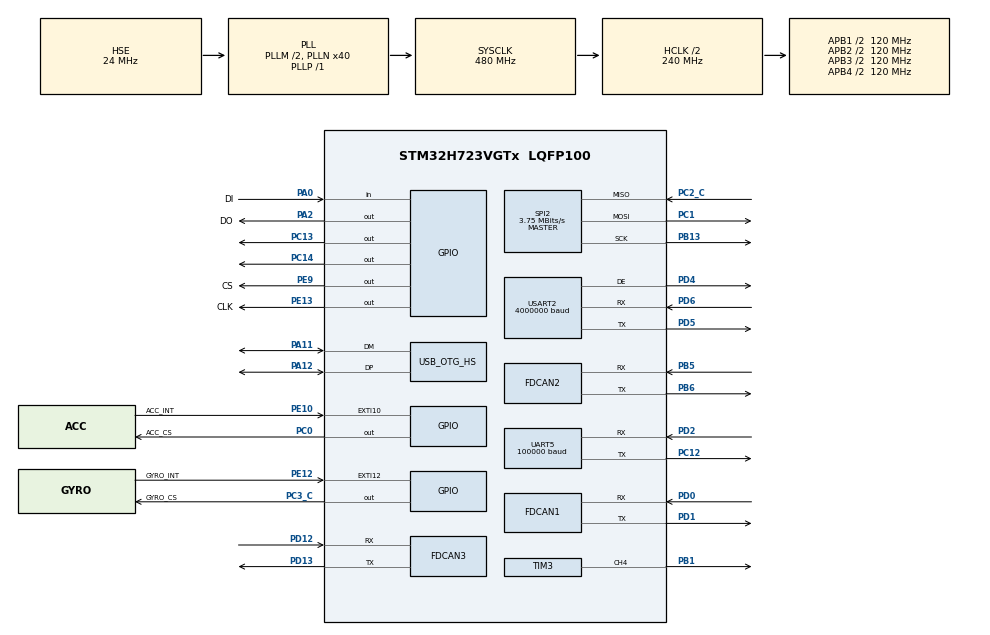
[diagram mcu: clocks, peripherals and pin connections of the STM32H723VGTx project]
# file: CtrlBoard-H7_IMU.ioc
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Dma.Request0=SPI2_RX
Dma.Request1=SPI2_TX
Dma.Request2=UART5_RX
Dma.Request3=USART2_RX
Dma.Request4=USART2_TX
Dma.SPI2_RX.0.Direction=DMA_PERIPH_TO_MEMORY
Dma.SPI2_RX.0.EventEnable=DISABLE
Dma.SPI2_RX.0.FIFOMode=DMA_FIFOMODE_DISABLE
Dma.SPI2_RX.0.Instance=DMA1_Stream0
Dma.SPI2_RX.0.MemDataAlignment=DMA_MDATAALIGN_BYTE
Dma.SPI2_RX.0.MemInc=DMA_MINC_ENABLE
Dma.SPI2_RX.0.Mode=DMA_NORMAL
Dma.SPI2_RX.0.PeriphDataAlignment=DMA_PDATAALIGN_BYTE
Dma.SPI2_RX.0.PeriphInc=DMA_PINC_DISABLE
Dma.SPI2_RX.0.Polarity=HAL_DMAMUX_REQ_GEN_RISING
Dma.SPI2_RX.0.Priority=DMA_PRIORITY_VERY_HIGH
Dma.SPI2_RX.0.RequestNumber=1
Dma.SPI2_RX.0.SignalID=NONE
Dma.SPI2_RX.0.SyncEnable=DISABLE
Dma.SPI2_RX.0.SyncPolarity=HAL_DMAMUX_SYNC_NO_EVENT
Dma.SPI2_RX.0.SyncRequestNumber=1
Dma.SPI2_RX.0.SyncSignalID=NONE
Dma.SPI2_TX.1.Direction=DMA_MEMORY_TO_PERIPH
Dma.SPI2_TX.1.EventEnable=DISABLE
Dma.SPI2_TX.1.FIFOMode=DMA_FIFOMODE_DISABLE
Dma.SPI2_TX.1.Instance=DMA1_Stream1
Dma.SPI2_TX.1.MemDataAlignment=DMA_MDATAALIGN_BYTE
Dma.SPI2_TX.1.MemInc=DMA_MINC_ENABLE
Dma.SPI2_TX.1.Mode=DMA_NORMAL
Dma.SPI2_TX.1.PeriphDataAlignment=DMA_PDATAALIGN_BYTE
Dma.SPI2_TX.1.PeriphInc=DMA_PINC_DISABLE
Dma.SPI2_TX.1.Polarity=HAL_DMAMUX_REQ_GEN_RISING
Dma.SPI2_TX.1.Priority=DMA_PRIORITY_HIGH
Dma.SPI2_TX.1.RequestNumber=1
Dma.SPI2_TX.1.SignalID=NONE
Dma.SPI2_TX.1.SyncEnable=DISABLE
Dma.SPI2_TX.1.SyncPolarity=HAL_DMAMUX_SYNC_NO_EVENT
Dma.SPI2_TX.1.SyncRequestNumber=1
Dma.SPI2_TX.1.SyncSignalID=NONE
Dma.UART5_RX.2.Direction=DMA_PERIPH_TO_MEMORY
Dma.UART5_RX.2.EventEnable=DISABLE
Dma.UART5_RX.2.FIFOMode=DMA_FIFOMODE_DISABLE
Dma.UART5_RX.2.Instance=DMA1_Stream2
Dma.UART5_RX.2.MemDataAlignment=DMA_MDATAALIGN_BYTE
Dma.UART5_RX.2.MemInc=DMA_MINC_ENABLE
Dma.UART5_RX.2.Mode=DMA_CIRCULAR
Dma.UART5_RX.2.PeriphDataAlignment=DMA_PDATAALIGN_BYTE
Dma.UART5_RX.2.PeriphInc=DMA_PINC_DISABLE
Dma.UART5_RX.2.Polarity=HAL_DMAMUX_REQ_GEN_RISING
Dma.UART5_RX.2.Priority=DMA_PRIORITY_VERY_HIGH
Dma.UART5_RX.2.RequestNumber=1
Dma.UART5_RX.2.SignalID=NONE
Dma.UART5_RX.2.SyncEnable=DISABLE
Dma.UART5_RX.2.SyncPolarity=HAL_DMAMUX_SYNC_NO_EVENT
Dma.UART5_RX.2.SyncRequestNumber=1
Dma.UART5_RX.2.SyncSignalID=NONE
Dma.USART2_RX.3.Direction=DMA_PERIPH_TO_MEMORY
Dma.USART2_RX.3.EventEnable=DISABLE
Dma.USART2_RX.3.FIFOMode=DMA_FIFOMODE_DISABLE
Dma.USART2_RX.3.Instance=DMA1_Stream3
Dma.USART2_RX.3.MemDataAlignment=DMA_MDATAALIGN_BYTE
Dma.USART2_RX.3.MemInc=DMA_MINC_ENABLE
Dma.USART2_RX.3.Mode=DMA_CIRCULAR
Dma.USART2_RX.3.PeriphDataAlignment=DMA_PDATAALIGN_BYTE
Dma.USART2_RX.3.PeriphInc=DMA_PINC_DISABLE
Dma.USART2_RX.3.Polarity=HAL_DMAMUX_REQ_GEN_RISING
Dma.USART2_RX.3.Priority=DMA_PRIORITY_HIGH
Dma.USART2_RX.3.RequestNumber=1
Dma.USART2_RX.3.SignalID=NONE
Dma.USART2_RX.3.SyncEnable=DISABLE
Dma.USART2_RX.3.SyncPolarity=HAL_DMAMUX_SYNC_NO_EVENT
Dma.USART2_RX.3.SyncRequestNumber=1
Dma.USART2_RX.3.SyncSignalID=NONE
Dma.USART2_TX.4.Direction=DMA_MEMORY_TO_PERIPH
Dma.USART2_TX.4.EventEnable=DISABLE
Dma.USART2_TX.4.FIFOMode=DMA_FIFOMODE_DISABLE
Dma.USART2_TX.4.Instance=DMA1_Stream4
Dma.USART2_TX.4.MemDataAlignment=DMA_MDATAALIGN_BYTE
Dma.USART2_TX.4.MemInc=DMA_MINC_ENABLE
Dma.USART2_TX.4.Mode=DMA_NORMAL
Dma.USART2_TX.4.PeriphDataAlignment=DMA_PDATAALIGN_BYTE
Dma.USART2_TX.4.PeriphInc=DMA_PINC_DISABLE
Dma.USART2_TX.4.Polarity=HAL_DMAMUX_REQ_GEN_RISING
Dma.USART2_TX.4.Priority=DMA_PRIORITY_HIGH
Dma.USART2_TX.4.RequestNumber=1
Dma.USART2_TX.4.SignalID=NONE
Dma.USART2_TX.4.SyncEnable=DISABLE
Dma.USART2_TX.4.SyncPolarity=HAL_DMAMUX_SYNC_NO_EVENT
Dma.USART2_TX.4.SyncRequestNumber=1
Dma.USART2_TX.4.SyncSignalID=NONE
FDCAN1.CalculateBaudRateNominal=1000000
FDCAN1.CalculateTimeBitNominal=1000
FDCAN1.CalculateTimeQuantumNominal=25.0
FDCAN1.DataPrescaler=3
FDCAN1.DataSyncJumpWidth=10
FDCAN1.DataTimeSeg1=29
FDCAN1.DataTimeSeg2=10
FDCAN1.ExtFiltersNbr=5
FDCAN1.MessageRAMOffset=5
FDCAN1.NominalPrescaler=3
FDCAN1.NominalSyncJumpWidth=10
FDCAN1.NominalTimeSeg1=29
FDCAN1.NominalTimeSeg2=10
FDCAN1.RxFifo0ElmtSize=FDCAN_DATA_BYTES_24
FDCAN1.RxFifo0ElmtsNbr=4
FDCAN1.RxFifo1ElmtSize=FDCAN_DATA_BYTES_24
FDCAN1.StdFiltersNbr=5
FDCAN1.TxElmtSize=FDCAN_DATA_BYTES_24
FDCAN1.TxFifoQueueElmtsNbr=8
FDCAN2.CalculateBaudRateNominal=1000000
FDCAN2.CalculateTimeBitNominal=1000
FDCAN2.CalculateTimeQuantumNominal=25.0
FDCAN2.DataPrescaler=3
FDCAN2.DataSyncJumpWidth=10
FDCAN2.DataTimeSeg1=29
FDCAN2.DataTimeSeg2=10
FDCAN2.ExtFiltersNbr=5
FDCAN2.MessageRAMOffset=854
FDCAN2.NominalPrescaler=3
FDCAN2.NominalSyncJumpWidth=10
FDCAN2.NominalTimeSeg1=29
FDCAN2.NominalTimeSeg2=10
FDCAN2.RxFifo1ElmtSize=FDCAN_DATA_BYTES_24
FDCAN2.RxFifo1ElmtsNbr=4
FDCAN2.StdFiltersNbr=5
FDCAN2.TxElmtSize=FDCAN_DATA_BYTES_24
FDCAN2.TxFifoQueueElmtsNbr=4
FDCAN3.CalculateBaudRateNominal=1000000
FDCAN3.CalculateTimeBitNominal=1000
FDCAN3.CalculateTimeQuantumNominal=25.0
FDCAN3.DataPrescaler=3
FDCAN3.DataSyncJumpWidth=10
FDCAN3.DataTimeSeg1=29
FDCAN3.DataTimeSeg2=5
FDCAN3.ExtFiltersNbr=5
FDCAN3.MessageRAMOffset=1709
FDCAN3.NominalPrescaler=3
FDCAN3.NominalSyncJumpWidth=10
FDCAN3.NominalTimeSeg1=29
FDCAN3.NominalTimeSeg2=10
FDCAN3.RxFifo0ElmtSize=FDCAN_DATA_BYTES_24
FDCAN3.RxFifo0ElmtsNbr=4
FDCAN3.StdFiltersNbr=5
FDCAN3.TxElmtSize=FDCAN_DATA_BYTES_24
FDCAN3.TxFifoQueueElmtsNbr=4
FREERTOS.MEMORY_ALLOCATION=0
FREERTOS.Tasks01=defaultTask,0,128,StartDefaultTask,Default,NULL,Dynamic,NULL,NULL;INS_TASK,3,512,INS_Task,Default,NULL,Dynamic,NULL,NULL;CHASSIS_TASK,1,1024,Chassis_Task,Default,NULL,Dynamic,NULL,NULL;REMOTE_TASK,1,256,Remote_Task,Default,NULL,Dynamic,NULL,NULL
FREERTOS.configENABLE_FPU=1
FREERTOS.configTOTAL_HEAP_SIZE=30720
Mcu.Family=STM32H7
Mcu.Name=STM32H723VGTx
Mcu.Package=LQFP100
NVIC.DMA1_Stream0_IRQn=true\:6\:0\:true\:false\:true\:true\:false\:true\:true
NVIC.DMA1_Stream1_IRQn=true\:6\:0\:true\:false\:true\:true\:false\:true\:true
NVIC.DMA1_Stream2_IRQn=true\:5\:0\:false\:false\:true\:true\:false\:true\:true
NVIC.DMA1_Stream3_IRQn=true\:5\:0\:false\:false\:true\:true\:false\:true\:true
NVIC.DMA1_Stream4_IRQn=true\:5\:0\:false\:false\:true\:true\:false\:true\:true
NVIC.FDCAN1_IT0_IRQn=true\:6\:0\:true\:false\:true\:true\:true\:true\:true
NVIC.FDCAN2_IT0_IRQn=true\:5\:0\:true\:false\:true\:true\:true\:true\:true
NVIC.FDCAN3_IT0_IRQn=true\:5\:0\:false\:false\:true\:true\:true\:true\:true
NVIC.OTG_HS_IRQn=true\:5\:0\:false\:false\:true\:true\:false\:true\:true
NVIC.PriorityGroup=NVIC_PRIORITYGROUP_4
NVIC.SPI2_IRQn=true\:5\:0\:true\:false\:true\:true\:false\:true\:true
NVIC.TIM2_IRQn=true\:15\:0\:false\:false\:true\:false\:false\:true\:true
NVIC.TimeBase=TIM2_IRQn
NVIC.TimeBaseIP=TIM2
NVIC.UART5_IRQn=true\:5\:0\:false\:false\:true\:true\:true\:true\:true
NVIC.USART2_IRQn=true\:5\:0\:false\:false\:true\:true\:true\:true\:true
PA0.GPIO_Label=DI
PA0.GPIO_PuPd=GPIO_PULLUP
PA0.Signal=GPIO_Input
PA11.Mode=Device_Only_FS
PA11.Signal=USB_OTG_HS_DM
PA12.Mode=Device_Only_FS
PA12.Signal=USB_OTG_HS_DP
PA13(JTMS/SWDIO).Mode=Serial_Wire
PA13(JTMS/SWDIO).Signal=DEBUG_JTMS-SWDIO
PA14(JTCK/SWCLK).Mode=Serial_Wire
PA14(JTCK/SWCLK).Signal=DEBUG_JTCK-SWCLK
PA2.GPIO_Label=DO
PA2.GPIO_PuPd=GPIO_PULLUP
PA2.GPIO_Speed=GPIO_SPEED_FREQ_VERY_HIGH
PA2.PinState=GPIO_PIN_SET
PA2.Signal=GPIO_Output
PB1.Signal=S_TIM3_CH4
PB13.GPIO_Speed=GPIO_SPEED_FREQ_VERY_HIGH
PB13.Mode=Full_Duplex_Master
PB13.Signal=SPI2_SCK
PB5.Mode=FDCAN_Activate
PB5.Signal=FDCAN2_RX
PB6.Mode=FDCAN_Activate
PB6.Signal=FDCAN2_TX
PC0.GPIO_Label=ACC_CS
PC0.GPIO_Speed=GPIO_SPEED_FREQ_VERY_HIGH
PC0.PinState=GPIO_PIN_SET
PC0.Signal=GPIO_Output
PC1.GPIO_Speed=GPIO_SPEED_FREQ_VERY_HIGH
PC1.Mode=Full_Duplex_Master
PC1.Signal=SPI2_MOSI
PC12.Mode=Asynchronous
PC12.Signal=UART5_TX
PC13.Signal=GPIO_Output
PC14-OSC32_IN.Signal=GPIO_Output
PC2_C.GPIO_Speed=GPIO_SPEED_FREQ_VERY_HIGH
PC2_C.Mode=Full_Duplex_Master
PC2_C.Signal=SPI2_MISO
PC3_C.GPIO_Label=GYRO_CS
PC3_C.GPIO_Speed=GPIO_SPEED_FREQ_VERY_HIGH
PC3_C.PinState=GPIO_PIN_SET
PC3_C.Signal=GPIO_Output
PD0.Mode=FDCAN_Activate
PD0.Signal=FDCAN1_RX
PD1.Mode=FDCAN_Activate
PD1.Signal=FDCAN1_TX
PD12.Mode=FDCAN_Activate
PD12.Signal=FDCAN3_RX
PD13.Mode=FDCAN_Activate
PD13.Signal=FDCAN3_TX
PD2.Mode=Asynchronous
PD2.Signal=UART5_RX
PD4.Mode=Hardware Flow Control (RS485)
PD4.Signal=USART2_DE
PD5.Mode=Asynchronous
PD5.Signal=USART2_TX
PD6.Mode=Asynchronous
PD6.Signal=USART2_RX
PE10.GPIO_Label=ACC_INT
PE10.Signal=GPXTI10
PE12.GPIO_Label=GYRO_INT
PE12.Signal=GPXTI12
PE13.GPIO_Label=CLK
PE13.GPIO_PuPd=GPIO_PULLUP
PE13.GPIO_Speed=GPIO_SPEED_FREQ_VERY_HIGH
PE13.PinState=GPIO_PIN_SET
PE13.Signal=GPIO_Output
PE9.GPIO_Label=CS
PE9.GPIO_PuPd=GPIO_PULLUP
PE9.GPIO_Speed=GPIO_SPEED_FREQ_VERY_HIGH
PE9.PinState=GPIO_PIN_SET
PE9.Signal=GPIO_Output
PH0-OSC_IN.Mode=HSE-External-Oscillator
PH0-OSC_IN.Signal=RCC_OSC_IN
PH1-OSC_OUT.Mode=HSE-External-Oscillator
PH1-OSC_OUT.Signal=RCC_OSC_OUT
ProjectManager.HeapSize=0x200
ProjectManager.StackSize=0x800
ProjectManager.TargetToolchain=MDK-ARM V5.27
RCC.ADCFreq_Value=100000000
RCC.APB1Freq_Value=120000000
RCC.APB2Freq_Value=120000000
RCC.APB3Freq_Value=120000000
RCC.APB4Freq_Value=120000000
RCC.CortexFreq_Value=480000000
RCC.D1PPRE=RCC_APB3_DIV2
RCC.D2PPRE1=RCC_APB1_DIV2
RCC.D2PPRE2=RCC_APB2_DIV2
RCC.D3PPRE=RCC_APB4_DIV2
RCC.DIVM1=2
RCC.DIVM2=24
RCC.DIVN1=40
RCC.DIVN2=200
RCC.DIVP1=1
RCC.DIVQ1=4
RCC.DIVR1=4
RCC.HCLKFreq_Value=240000000
RCC.HPRE=RCC_HCLK_DIV2
RCC.HSE_VALUE=24000000
RCC.PLL2FRACN=0
RCC.PLL3FRACN=0
RCC.PLLFRACN=0
RCC.PLLSourceVirtual=RCC_PLLSOURCE_HSE
RCC.SYSCLKFreq_VALUE=480000000
RCC.SYSCLKSource=RCC_SYSCLKSOURCE_PLLCLK
RCC.USBCLockSelection=RCC_USBCLKSOURCE_HSI48
RCC.USBFreq_Value=48000000
SH.S_TIM3_CH4.0=TIM3_CH4,PWM Generation4 CH4
SPI2.BaudRatePrescaler=SPI_BAUDRATEPRESCALER_32
SPI2.CLKPhase=SPI_PHASE_2EDGE
SPI2.CLKPolarity=SPI_POLARITY_HIGH
SPI2.CalculateBaudRate=3.75 MBits/s
SPI2.DataSize=SPI_DATASIZE_8BIT
SPI2.Direction=SPI_DIRECTION_2LINES
SPI2.Mode=SPI_MODE_MASTER
SPI2.VirtualType=VM_MASTER
TIM3.AutoReloadPreload=TIM_AUTORELOAD_PRELOAD_ENABLE
TIM3.Channel-PWM\ Generation4\ CH4=TIM_CHANNEL_4
TIM3.Period=10000-1
TIM3.Prescaler=24-1
UART5.BaudRate=100000
UART5.Mode=MODE_RX
UART5.Parity=PARITY_EVEN
UART5.StopBits=UART_STOPBITS_2
UART5.WordLength=WORDLENGTH_9B
USART2.BaudRate=4000000
USART2.OverSampling=UART_OVERSAMPLING_16
USART2.UART_DEAssertionTime=0
USART2.UART_DEDeassertionTime=0
USART2.VirtualMode-Asynchronous=VM_ASYNC
USART2.VirtualMode-Hardware\ Flow\ Control\ (RS485)=VM_ASYNC
USB_DEVICE.CLASS_NAME_HS=CDC
USB_DEVICE.VirtualMode=Cdc
USB_DEVICE.VirtualModeHS=Cdc_HS
USB_OTG_HS.VirtualMode-Device_Only_FS=Device_Only_FS
VP_FREERTOS_VS_CMSIS_V1.Mode=CMSIS_V1
VP_SYS_VS_tim2.Mode=TIM2
VP_USB_DEVICE_VS_USB_DEVICE_CDC_HS.Mode=CDC_HS
board=custom

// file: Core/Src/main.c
/* USER CODE BEGIN Header */
/**
  ******************************************************************************
  * @file           : main.c
  * @brief          : Main program body
  ******************************************************************************
  * @attention
  *
  * Copyright (c) 2024 STMicroelectronics.
  * All rights reserved.
  *
  * This software is licensed under terms that can be found in the LICENSE file
  * in the root directory of this software component.
  * If no LICENSE file comes with this software, it is provided AS-IS.
  *
  ******************************************************************************
  */
/* USER CODE END Header */
#include "main.h"
#include "cmsis_os.h"
#include "dma.h"
#include "fdcan.h"
#include "spi.h"
#include "tim.h"
#include "usart.h"
#include "usb_device.h"
#include "gpio.h"

/* USER CODE BEGIN Includes */
#include "BMI088driver.h"
#include "kalman_filter.h"
#include "mahony_filter.h"
#include "bsp_dwt.h"
#include "BMI088Middleware.h"
#include "bsp_can.h"
#include "bsp_uart.h"
#include "user_sys_config.h"
/* USER CODE END Includes */

void SystemClock_Config(void);
void MX_FREERTOS_Init(void);

int main(void)
{

  /* MCU Configuration--------------------------------------------------------*/

  /* Reset of all peripherals, Initializes the Flash interface and the Systick. */
  HAL_Init();

  /* USER CODE BEGIN Init */
//06 01 00 00 00 00 00 00 00 00 00 00 00 00 80 3F
  /* USER CODE END Init */

  /* Configure the system clock */
  SystemClock_Config();

  /* Initialize all configured peripherals */
  MX_GPIO_Init();
  MX_DMA_Init();
  MX_SPI2_Init();
  MX_FDCAN1_Init();
  MX_FDCAN2_Init();
  MX_TIM3_Init();
  MX_FDCAN3_Init();
  MX_UART5_Init();
  MX_USART2_UART_Init();
  /* USER CODE BEGIN 2 */
  MX_USB_DEVICE_Init();
  DWT_Init(480);
  /*���ڳ�ʼ�� */
  BSP_USART_Init();
  /* ϵͳ�ӳ����� */
  HAL_Delay(SYS_DELAY_START_TIME);
  /* BMI088��ʼ�� */
  while (BMI088_init(&hspi2, 0) != BMI088_NO_ERROR)
  {
	  ;
  }
  Power_OUT1_ON;//imu��ʼ����ɣ��ɿص�Դ�򿪣�led����
  Power_OUT2_ON;

  FDCAN1_Config();//can��������ʼ��
  FDCAN2_Config();
  FDCAN3_Config();

  /* USER CODE END 2 */

  /* Call init function for freertos objects (in freertos.c) */
  MX_FREERTOS_Init();

  /* Start scheduler */
  osKernelStart();

  /* We should never get here as control is now taken by the scheduler */
  /* Infinite loop */
  while (1)
  {

  }
}

void SystemClock_Config(void)
{
  RCC_OscInitTypeDef RCC_OscInitStruct = {0};
  RCC_ClkInitTypeDef RCC_ClkInitStruct = {0};

  /** Supply configuration update enable
  */
  HAL_PWREx_ConfigSupply(PWR_LDO_SUPPLY);

  /** Configure the main internal regulator output voltage
  */
  __HAL_PWR_VOLTAGESCALING_CONFIG(PWR_REGULATOR_VOLTAGE_SCALE0);

  while(!__HAL_PWR_GET_FLAG(PWR_FLAG_VOSRDY)) {}

  /** Initializes the RCC Oscillators according to the specified parameters
  * in the RCC_OscInitTypeDef structure.
  */
  RCC_OscInitStruct.OscillatorType = RCC_OSCILLATORTYPE_HSI48|RCC_OSCILLATORTYPE_HSE;
  RCC_OscInitStruct.HSEState = RCC_HSE_ON;
  RCC_OscInitStruct.HSI48State = RCC_HSI48_ON;
  RCC_OscInitStruct.PLL.PLLState = RCC_PLL_ON;
  RCC_OscInitStruct.PLL.PLLSource = RCC_PLLSOURCE_HSE;
  RCC_OscInitStruct.PLL.PLLM = 2;
  RCC_OscInitStruct.PLL.PLLN = 40;
  RCC_OscInitStruct.PLL.PLLP = 1;
  RCC_OscInitStruct.PLL.PLLQ = 4;
  RCC_OscInitStruct.PLL.PLLR = 4;
  RCC_OscInitStruct.PLL.PLLRGE = RCC_PLL1VCIRANGE_3;
  RCC_OscInitStruct.PLL.PLLVCOSEL = RCC_PLL1VCOWIDE;
  RCC_OscInitStruct.PLL.PLLFRACN = 0;
  if (HAL_RCC_OscConfig(&RCC_OscInitStruct) != HAL_OK)
  {
    Error_Handler();
  }

  /** Initializes the CPU, AHB and APB buses clocks
  */
  RCC_ClkInitStruct.ClockType = RCC_CLOCKTYPE_HCLK|RCC_CLOCKTYPE_SYSCLK
                              |RCC_CLOCKTYPE_PCLK1|RCC_CLOCKTYPE_PCLK2
                              |RCC_CLOCKTYPE_D3PCLK1|RCC_CLOCKTYPE_D1PCLK1;
  RCC_ClkInitStruct.SYSCLKSource = RCC_SYSCLKSOURCE_PLLCLK;
  RCC_ClkInitStruct.SYSCLKDivider = RCC_SYSCLK_DIV1;
  RCC_ClkInitStruct.AHBCLKDivider = RCC_HCLK_DIV2;
  RCC_ClkInitStruct.APB3CLKDivider = RCC_APB3_DIV2;
  RCC_ClkInitStruct.APB1CLKDivider = RCC_APB1_DIV2;
  RCC_ClkInitStruct.APB2CLKDivider = RCC_APB2_DIV2;
  RCC_ClkInitStruct.APB4CLKDivider = RCC_APB4_DIV2;

  if (HAL_RCC_ClockConfig(&RCC_ClkInitStruct, FLASH_LATENCY_3) != HAL_OK)
  {
    Error_Handler();
  }
}

void HAL_TIM_PeriodElapsedCallback(TIM_HandleTypeDef *htim)
{
  if (htim->Instance == TIM2) {
    HAL_IncTick();
  }
}

void Error_Handler(void)
{
  __disable_irq();
  while (1)
  {
  }
}

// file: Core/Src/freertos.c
/* USER CODE BEGIN Header */
/**
  ******************************************************************************
  * File Name          : freertos.c
  * Description        : Code for freertos applications
  ******************************************************************************
  * @attention
  *
  * Copyright (c) 2024 STMicroelectronics.
  * All rights reserved.
  *
  * This software is licensed under terms that can be found in the LICENSE file
  * in the root directory of this software component.
  * If no LICENSE file comes with this software, it is provided AS-IS.
  *
  ******************************************************************************
  */
/* USER CODE END Header */

#include "FreeRTOS.h"
#include "task.h"
#include "main.h"
#include "cmsis_os.h"

/* USER CODE BEGIN Includes */
#include "INS_task.h"
#include "DM_Motor.h"
#include "fdcan.h"
#include "Manipulator_Task.h"
#include "AGV_Chassis_Task.h"
/* USER CODE END Includes */

osThreadId defaultTaskHandle;
osThreadId INS_TASKHandle;
osThreadId CHASSIS_TASKHandle;
osThreadId REMOTE_TASKHandle;
osThreadId ManipulatorTaskHandle;

void StartDefaultTask(void const * argument);
void INS_Task(void const * argument);
void Chassis_Task(void const * argument);
void Remote_Task(void const * argument);
void Manipulator_Task(void const * argument);

extern void MX_USB_DEVICE_Init(void);
void MX_FREERTOS_Init(void); /* (MISRA C 2004 rule 8.1) */

void MX_FREERTOS_Init(void) {

  /* Create the thread(s) */
  /* definition and creation of defaultTask */
  osThreadDef(defaultTask, StartDefaultTask, osPriorityNormal, 0, 128);
  defaultTaskHandle = osThreadCreate(osThread(defaultTask), NULL);

  /* definition and creation of INS_TASK */
  osThreadDef(INS_TASK, INS_Task, osPriorityRealtime, 0, 512);
  INS_TASKHandle = osThreadCreate(osThread(INS_TASK), NULL);

  /* definition and creation of CHASSIS_TASK */
  osThreadDef(CHASSIS_TASK, Chassis_Task, osPriorityAboveNormal, 0, 1024);
  CHASSIS_TASKHandle = osThreadCreate(osThread(CHASSIS_TASK), NULL);

  /* definition and creation of REMOTE_TASK */
  osThreadDef(REMOTE_TASK, Remote_Task, osPriorityAboveNormal, 0, 256);
  REMOTE_TASKHandle = osThreadCreate(osThread(REMOTE_TASK), NULL);

  /* definition and creation of ManipulatorTask */
  osThreadDef(ManipulatorTask, Manipulator_Task, osPriorityAboveNormal, 0, 512);
  ManipulatorTaskHandle = osThreadCreate(osThread(ManipulatorTask), NULL);

}

void StartDefaultTask(void const * argument)
{
  /* init code for USB_DEVICE */
  MX_USB_DEVICE_Init();
  for(;;)
  {
    osDelay(1);
  }
}

void INS_Task(void const * argument)
{
  /* USER CODE BEGIN INS_Task */

  /* Infinite loop */
  for(;;)
  {
    INS_task();
		osDelay(10);

  }
  /* USER CODE END INS_Task */
}

void Chassis_Task(void const * argument)
{
  /* USER CODE BEGIN Chassis_Task */
  /* Infinite loop */
  for(;;)
  {
		AGV_Chassis_Task();
    osDelay(1);
  }
  /* USER CODE END Chassis_Task */
}

void Remote_Task(void const * argument)
{
  for(;;)
  {
    osDelay(1);
  }
}

void Manipulator_Task(void const * argument)
{
  /* USER CODE BEGIN Manipulator_Task */
  /* Infinite loop */
  for(;;)
  {
//		Enable_Motor_Mode(&hfdcan2, 0x19, POS_MODE, 1);
//		ManipulatorTask();
    osDelay(1);
  }
  /* USER CODE END Manipulator_Task */
}
